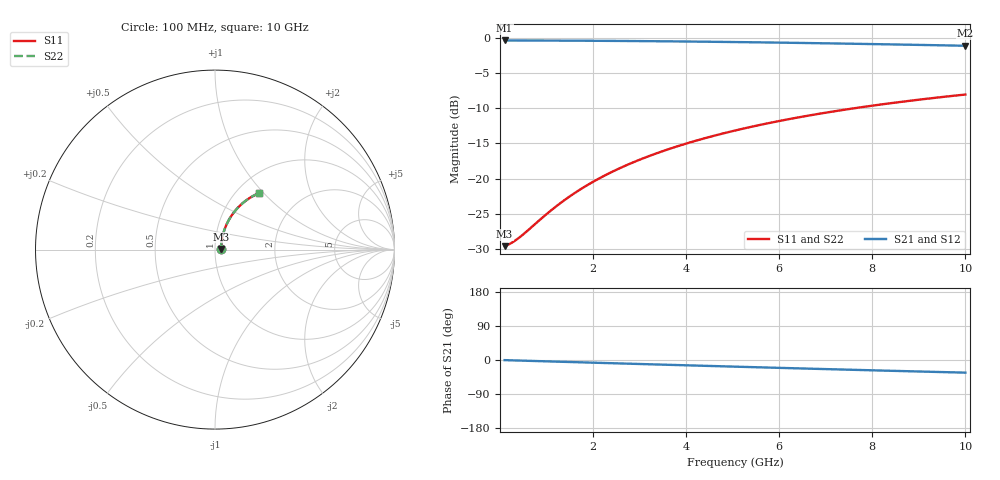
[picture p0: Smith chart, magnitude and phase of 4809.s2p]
# Hz S RI R 50.00
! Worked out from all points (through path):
!   100 points, 100 MHz to 10 GHz, reference 50 ohm
!   highest |S21| = -0.29 dB at 100 MHz (marker M1); lowest = -1.0 dB at 10 GHz (marker M2)
!   group delay of S21, straight-line fit = 9.3 ps
!   lowest |S11| = -29.7 dB at 100 MHz (marker M3), VSWR 1.07, Z = 53.4 + j0.454 ohm
!   |S11| at or under -10 dB: start of sweep to 7.581 GHz
!   |S22| runs from -29.7 to -8.0 dB; largest |S21 - S12| = 0
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1e8  0.0326 0.00425  0.9674 -0.00597  0.9674 -0.00597  0.0326 0.00425
2e8  0.0329 0.0085  0.9671 -0.0119  0.9671 -0.0119  0.0329 0.0085
3e8  0.0332 0.0127  0.9668 -0.0179  0.9668 -0.0179  0.0332 0.0127
4e8  0.0335 0.017  0.9665 -0.0239  0.9665 -0.0239  0.0335 0.017
1e9  0.0362 0.0423  0.9637 -0.0595  0.9637 -0.0595  0.0362 0.0423
1.2e9  0.0374 0.0507  0.9623 -0.0713  0.9623 -0.0713  0.0374 0.0507
1.5e9  0.0397 0.0631  0.9599 -0.0889  0.9599 -0.0889  0.0397 0.0631
1.8e9  0.0424 0.0755  0.9571 -0.1064  0.9571 -0.1064  0.0424 0.0755
2.1e9  0.0455 0.0877  0.9538 -0.1238  0.9538 -0.1238  0.0455 0.0877
2.5e9  0.0503 0.1038  0.9487 -0.1468  0.9487 -0.1468  0.0503 0.1038
2.9e9  0.0559 0.1196  0.9428 -0.1694  0.9428 -0.1694  0.0559 0.1196
3.4e9  0.0639 0.1387  0.9343 -0.1972  0.9343 -0.1972  0.0639 0.1387
3.8e9  0.0711 0.1536  0.9267 -0.2191  0.9267 -0.2191  0.0711 0.1536
4.2e9  0.0789 0.1681  0.9183 -0.2404  0.9183 -0.2404  0.0789 0.1681
4.6e9  0.0874 0.1821  0.9093 -0.2613  0.9093 -0.2613  0.0874 0.1821
5.1e9  0.0988 0.1988  0.8972 -0.2868  0.8972 -0.2868  0.0988 0.1988
5.9e9  0.1188 0.2239  0.8758 -0.3257  0.8758 -0.3257  0.1188 0.2239
6.7e9  0.1407 0.2466  0.8524 -0.3623  0.8524 -0.3623  0.1407 0.2466
7.5e9  0.1642 0.2669  0.8272 -0.3966  0.8272 -0.3966  0.1642 0.2669
8.4e9  0.192 0.2867  0.7971 -0.4322  0.7971 -0.4322  0.192 0.2867
9.2e9  0.2178 0.3016  0.7691 -0.4611  0.7691 -0.4611  0.2178 0.3016
1e10  0.2441 0.3139  0.7403 -0.4876  0.7403 -0.4876  0.2441 0.3139
